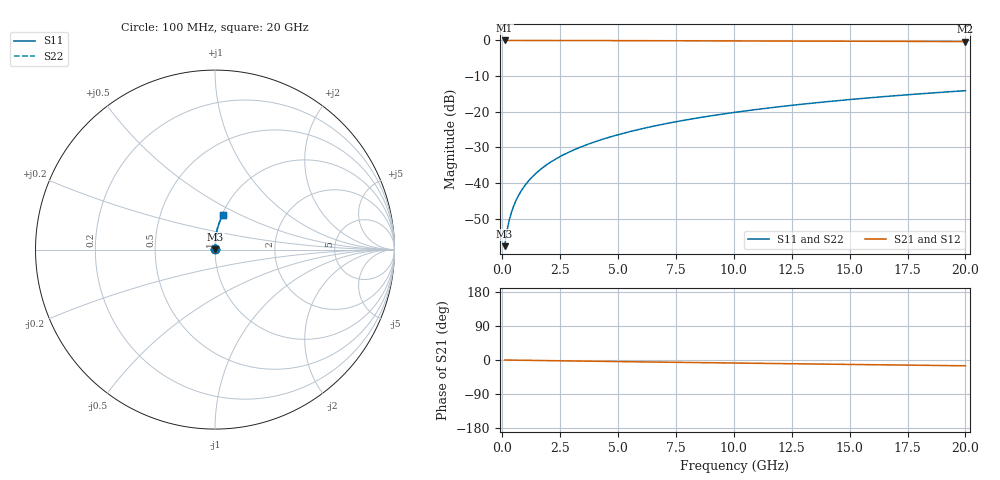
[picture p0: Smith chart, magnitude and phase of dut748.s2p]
! Touchstone file exported from HFSS 2024.1.0
!  File:  C:/UserFiles/LocalFiles/RDL_TSV_Batchsim/temp_RDL_top_748_1779851731.aedt
!  Generated:  11:17:48 AM May 27, 2026
!  Design:  RDL_top
!  Project:  temp_RDL_top_748_1779851731
!  Setup:  Setup1
!  Solution:  Sweep
! Variables:
!  dtsv = 10.80580581um
!  hbump = 3um
!  htsv = 58.53um
!  ldown = 100um
!  lrdl = 155.67um
!  p = 40
!  p1 = 57.83um
!  rhole = 1um
!  t = 450um
!  tdown = 3.915915916um
!  trdl = 4.49um
!  wdown = 15.38538539um
!  wrdl = 17.02um
# GHz S MA R 50.000000
! Terminal data exported
! Port[1] = Box2_T1
! Port[2] = Box2_T2
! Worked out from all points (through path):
!   200 points, 100 MHz to 20 GHz, reference 50 ohm
!   highest |S21| = -0.01 dB at 100 MHz (marker M1); lowest = -0.3 dB at 20 GHz (marker M2)
!   group delay of S21, straight-line fit = 2.11 ps
!   lowest |S11| = -57.7 dB at 100 MHz (marker M3), VSWR 1.00, Z = 50.1 + j0.0982 ohm
!   |S11| at or under -10 dB: start of sweep to end of sweep
!   |S22| runs from -57.7 to -14.1 dB; largest |S21 - S12| = 2.7e-15
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0.1  0.001309 48.5  0.9991 -0.1  0.9991 -0.1  0.001309 48.5
! Gamma 0 0 0 0
! Port Impedance 50 0 50 0
0.2  0.00214 65.2  0.9991 -0.2  0.9991 -0.2  0.00214 65.2
0.3  0.003035 72.2  0.9991 -0.3  0.9991 -0.3  0.003035 72.2
0.4  0.003944 76.1  0.999 -0.3  0.999 -0.3  0.003944 76.1
0.5  0.004859 78.5  0.999 -0.4  0.999 -0.4  0.004859 78.5
0.7  0.006704 81.5  0.9989 -0.6  0.9989 -0.6  0.006704 81.5
0.8  0.007631 82.4  0.9989 -0.7  0.9989 -0.7  0.007631 82.4
1  0.009492 83.8  0.9988 -0.9  0.9988 -0.9  0.009492 83.8
1.2  0.01136 84.7  0.9987 -1.0  0.9987 -1.0  0.01136 84.7
1.4  0.01323 85.4  0.9985 -1.2  0.9985 -1.2  0.01323 85.4
1.7  0.01605 86.0  0.9983 -1.5  0.9983 -1.5  0.01605 86.0
2  0.01888 86.5  0.9981 -1.7  0.9981 -1.7  0.01888 86.5
2.7  0.02552 87.1  0.9974 -2.3  0.9974 -2.3  0.02552 87.1
3.5  0.03318 87.3  0.9964 -3.0  0.9964 -3.0  0.03318 87.3
4.2  0.03993 87.4  0.9954 -3.5  0.9954 -3.5  0.03993 87.4
5  0.04773 87.3  0.9941 -4.2  0.9941 -4.2  0.04773 87.3
6.8  0.06555 86.7  0.9909 -5.6  0.9909 -5.6  0.06555 86.7
8.3  0.08062 85.9  0.9881 -6.7  0.9881 -6.7  0.08062 85.9
10.1  0.09885 84.8  0.9846 -8.1  0.9846 -8.1  0.09885 84.8
13.4  0.1323 82.4  0.978 -10.5  0.978 -10.5  0.1323 82.4
16.7  0.1654 79.8  0.971 -12.9  0.971 -12.9  0.1654 79.8
20  0.1977 77.3  0.9634 -15.3  0.9634 -15.3  0.1978 77.3
